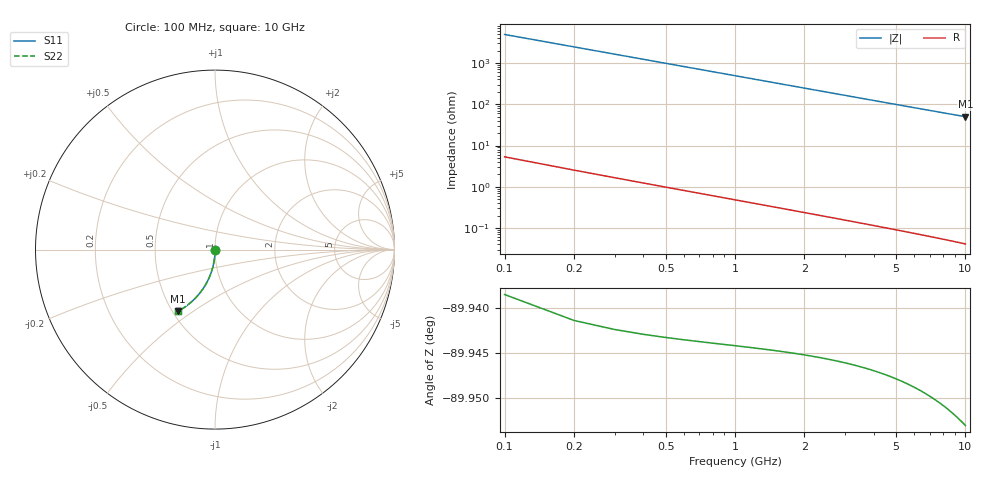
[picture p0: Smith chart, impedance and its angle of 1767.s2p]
# Hz S RI R 50.00
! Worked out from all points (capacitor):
!   100 points, 100 MHz to 10 GHz, reference 50 ohm
!   read as one part in shunt: C = 322 fF near 100 MHz
!   lowest |Z| = 50.1 ohm at 10 GHz (marker M1)
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1e8  0.000315 -0.00442  0.9996 -0.00568  0.9996 -0.00568  0.000315 -0.00442
2e8  0.000237 -0.00885  0.9995 -0.0114  0.9995 -0.0114  0.000237 -0.00885
3e8  0.000108 -0.0133  0.9994 -0.017  0.9994 -0.017  0.000108 -0.0133
4e8  -7.1e-05 -0.0177  0.9992 -0.0227  0.9992 -0.0227  -7.1e-05 -0.0177
5e8  -0.000301 -0.0221  0.999 -0.0284  0.999 -0.0284  -0.000301 -0.0221
6e8  -0.000581 -0.0265  0.9987 -0.0341  0.9987 -0.0341  -0.000581 -0.0265
7e8  -0.000911 -0.0309  0.9983 -0.0397  0.9983 -0.0397  -0.000911 -0.0309
8e8  -0.00129 -0.0353  0.9979 -0.0454  0.9979 -0.0454  -0.00129 -0.0353
9e8  -0.00172 -0.0397  0.9975 -0.0511  0.9975 -0.0511  -0.00172 -0.0397
1.1e9  -0.00273 -0.0485  0.9965 -0.0624  0.9965 -0.0624  -0.00273 -0.0485
1.4e9  -0.00462 -0.0616  0.9945 -0.0792  0.9945 -0.0792  -0.00462 -0.0616
1.8e9  -0.00782 -0.079  0.9912 -0.1016  0.9912 -0.1016  -0.00782 -0.079
2.1e9  -0.0107 -0.0918  0.9882 -0.1183  0.9882 -0.1183  -0.0107 -0.0918
2.5e9  -0.0153 -0.1088  0.9835 -0.1403  0.9835 -0.1403  -0.0153 -0.1088
2.9e9  -0.0206 -0.1255  0.978 -0.162  0.978 -0.162  -0.0206 -0.1255
3.4e9  -0.0282 -0.1459  0.9702 -0.1888  0.9702 -0.1888  -0.0282 -0.1459
4.2e9  -0.0426 -0.1773  0.9552 -0.2304  0.9552 -0.2304  -0.0426 -0.1773
5.1e9  -0.0618 -0.2107  0.9353 -0.2751  0.9353 -0.2751  -0.0618 -0.2107
5.9e9  -0.0813 -0.2382  0.9151 -0.3128  0.9151 -0.3128  -0.0813 -0.2382
6.7e9  -0.1028 -0.2635  0.8928 -0.3484  0.8928 -0.3484  -0.1028 -0.2635
8.4e9  -0.1535 -0.3096  0.84 -0.4164  0.84 -0.4164  -0.1535 -0.3096
1e10  -0.2056 -0.343  0.7854 -0.4706  0.7854 -0.4706  -0.2056 -0.343
